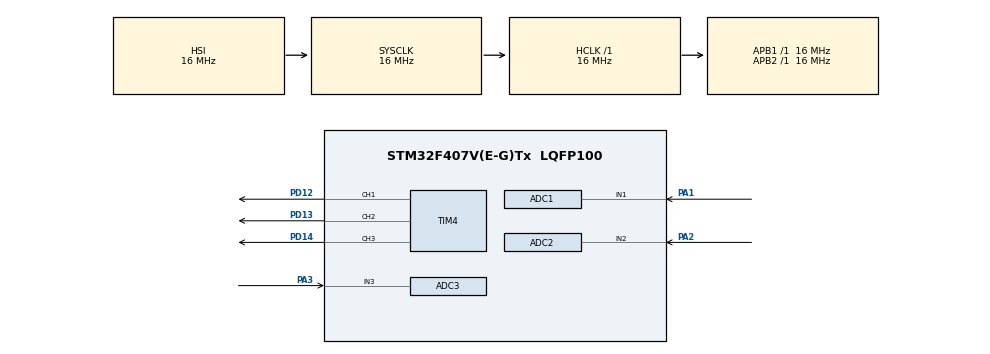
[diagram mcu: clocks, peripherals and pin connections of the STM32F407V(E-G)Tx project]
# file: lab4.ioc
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ADC1.Channel-0\#ChannelRegularConversion=ADC_CHANNEL_1
ADC1.ClockPrescaler=ADC_CLOCK_SYNC_PCLK_DIV8
ADC1.NbrOfConversionFlag=1
ADC1.Rank-0\#ChannelRegularConversion=1
ADC1.SamplingTime-0\#ChannelRegularConversion=ADC_SAMPLETIME_480CYCLES
ADC1.master=1
ADC2.Channel-3\#ChannelRegularConversion=ADC_CHANNEL_2
ADC2.ClockPrescaler=ADC_CLOCK_SYNC_PCLK_DIV8
ADC2.NbrOfConversionFlag=1
ADC2.Rank-3\#ChannelRegularConversion=1
ADC2.SamplingTime-3\#ChannelRegularConversion=ADC_SAMPLETIME_3CYCLES
ADC3.Channel-0\#ChannelRegularConversion=ADC_CHANNEL_3
ADC3.ClockPrescaler=ADC_CLOCK_SYNC_PCLK_DIV8
ADC3.NbrOfConversionFlag=1
ADC3.Rank-0\#ChannelRegularConversion=1
ADC3.SamplingTime-0\#ChannelRegularConversion=ADC_SAMPLETIME_480CYCLES
Mcu.Family=STM32F4
Mcu.Name=STM32F407V(E-G)Tx
Mcu.Package=LQFP100
NVIC.ADC_IRQn=true\:0\:0\:false\:false\:true\:true\:true\:true
NVIC.PriorityGroup=NVIC_PRIORITYGROUP_4
PA1.Signal=ADCx_IN1
PA2.Signal=ADCx_IN2
PA3.Signal=ADCx_IN3
PD12.Signal=S_TIM4_CH1
PD13.Signal=S_TIM4_CH2
PD14.Signal=S_TIM4_CH3
ProjectManager.HeapSize=0x200
ProjectManager.StackSize=0x400
ProjectManager.TargetToolchain=STM32CubeIDE
RCC.AHBFreq_Value=16000000
RCC.APB1Freq_Value=16000000
RCC.APB2Freq_Value=16000000
RCC.CortexFreq_Value=16000000
RCC.HSE_VALUE=25000000
RCC.HSI_VALUE=16000000
RCC.LSE_VALUE=32768
RCC.SYSCLKFreq_VALUE=16000000
RCC.VCOOutputFreq_Value=192000000
SH.ADCx_IN1.0=ADC1_IN1,IN1
SH.ADCx_IN2.0=ADC2_IN2,IN2
SH.ADCx_IN3.0=ADC3_IN3,IN3
SH.S_TIM4_CH1.0=TIM4_CH1,PWM Generation1 CH1
SH.S_TIM4_CH2.0=TIM4_CH2,PWM Generation2 CH2
SH.S_TIM4_CH3.0=TIM4_CH3,PWM Generation3 CH3
TIM4.Channel-PWM\ Generation1\ CH1=TIM_CHANNEL_1
TIM4.Channel-PWM\ Generation2\ CH2=TIM_CHANNEL_2
TIM4.Channel-PWM\ Generation3\ CH3=TIM_CHANNEL_3
VP_TIM4_VS_ClockSourceINT.Mode=Internal
board=custom

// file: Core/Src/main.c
/* USER CODE BEGIN Header */
/**
  ******************************************************************************
  * @file           : main.c
  * @brief          : Main program body
  ******************************************************************************
  * @attention
  *
  * Copyright (c) 2024 STMicroelectronics.
  * All rights reserved.
  *
  * This software is licensed under terms that can be found in the LICENSE file
  * in the root directory of this software component.
  * If no LICENSE file comes with this software, it is provided AS-IS.
  *
  ******************************************************************************
  */
/* USER CODE END Header */
#include "main.h"

ADC_HandleTypeDef hadc1;
ADC_HandleTypeDef hadc2;
ADC_HandleTypeDef hadc3;

TIM_HandleTypeDef htim4;

void SystemClock_Config(void);
static void MX_GPIO_Init(void);
static void MX_ADC1_Init(void);
static void MX_ADC2_Init(void);
static void MX_ADC3_Init(void);
static void MX_TIM4_Init(void);

/* USER CODE BEGIN 0 */

#define ADC_MAX_VAL (4096) // 2^12

// Generated ADC_IRQHandler in /stm32f4xx_it.c that defines the callback
void HAL_ADC_ConvCpltCallback(ADC_HandleTypeDef *hadc) {
	uint32_t hp = htim4.Init.Period;

	if (hadc->Instance == ADC1) {
		volatile uint32_t adc_val1 = HAL_ADC_GetValue(&hadc1);
		uint32_t duty_cycle_percentage = (adc_val1 * 100) / ADC_MAX_VAL;
		TIM4->CCR1 = (duty_cycle_percentage * hp) / 100;

		HAL_ADC_Start_IT(&hadc2);
	} else if (hadc->Instance == ADC2) {
		volatile uint32_t adc_val2 = HAL_ADC_GetValue(&hadc2);
		uint32_t duty_cycle_percentage = (adc_val2 * 100) / ADC_MAX_VAL;
		TIM4->CCR2 = (duty_cycle_percentage * hp) / 100;

		HAL_ADC_Start_IT(&hadc3);
	} else if (hadc->Instance == ADC3) {
		volatile uint32_t adc_val3 = HAL_ADC_GetValue(&hadc3);
		uint32_t duty_cycle_percentage = (adc_val3 * 100) / ADC_MAX_VAL;
		TIM4->CCR3 = (duty_cycle_percentage * hp) / 100;

		HAL_ADC_Start_IT(&hadc1);
	}
}

/* USER CODE END 0 */

int main(void)
{

  /* MCU Configuration--------------------------------------------------------*/

  /* Reset of all peripherals, Initializes the Flash interface and the Systick. */
  HAL_Init();

  /* Configure the system clock */
  SystemClock_Config();

  /* Initialize all configured peripherals */
  MX_GPIO_Init();
  MX_ADC1_Init();
  MX_ADC2_Init();
  MX_ADC3_Init();
  MX_TIM4_Init();
  /* USER CODE BEGIN 2 */

  HAL_TIM_PWM_Start(&htim4, TIM_CHANNEL_1);
  HAL_TIM_PWM_Start(&htim4, TIM_CHANNEL_2);
  HAL_TIM_PWM_Start(&htim4, TIM_CHANNEL_3);

  HAL_ADC_Start_IT(&hadc1);
  HAL_ADC_Start_IT(&hadc2);
  HAL_ADC_Start_IT(&hadc3);

  /* USER CODE END 2 */

  /* Infinite loop */
  /* USER CODE BEGIN WHILE */
  while (1)
  {
	// HAL_ADC_ConfigChannel(&hadc1, sConfig);
    /* USER CODE END WHILE */

  }
}

void SystemClock_Config(void)
{
  RCC_OscInitTypeDef RCC_OscInitStruct = {0};
  RCC_ClkInitTypeDef RCC_ClkInitStruct = {0};

  /** Configure the main internal regulator output voltage
  */
  __HAL_RCC_PWR_CLK_ENABLE();
  __HAL_PWR_VOLTAGESCALING_CONFIG(PWR_REGULATOR_VOLTAGE_SCALE1);

  /** Initializes the RCC Oscillators according to the specified parameters
  * in the RCC_OscInitTypeDef structure.
  */
  RCC_OscInitStruct.OscillatorType = RCC_OSCILLATORTYPE_HSI;
  RCC_OscInitStruct.HSIState = RCC_HSI_ON;
  RCC_OscInitStruct.HSICalibrationValue = RCC_HSICALIBRATION_DEFAULT;
  RCC_OscInitStruct.PLL.PLLState = RCC_PLL_NONE;
  if (HAL_RCC_OscConfig(&RCC_OscInitStruct) != HAL_OK)
  {
    Error_Handler();
  }

  /** Initializes the CPU, AHB and APB buses clocks
  */
  RCC_ClkInitStruct.ClockType = RCC_CLOCKTYPE_HCLK|RCC_CLOCKTYPE_SYSCLK
                              |RCC_CLOCKTYPE_PCLK1|RCC_CLOCKTYPE_PCLK2;
  RCC_ClkInitStruct.SYSCLKSource = RCC_SYSCLKSOURCE_HSI;
  RCC_ClkInitStruct.AHBCLKDivider = RCC_SYSCLK_DIV1;
  RCC_ClkInitStruct.APB1CLKDivider = RCC_HCLK_DIV1;
  RCC_ClkInitStruct.APB2CLKDivider = RCC_HCLK_DIV1;

  if (HAL_RCC_ClockConfig(&RCC_ClkInitStruct, FLASH_LATENCY_0) != HAL_OK)
  {
    Error_Handler();
  }
}

static void MX_ADC1_Init(void)
{

  ADC_ChannelConfTypeDef sConfig = {0};

  /** Configure the global features of the ADC (Clock, Resolution, Data Alignment and number of conversion)
  */
  hadc1.Instance = ADC1;
  hadc1.Init.ClockPrescaler = ADC_CLOCK_SYNC_PCLK_DIV8;
  hadc1.Init.Resolution = ADC_RESOLUTION_12B;
  hadc1.Init.ScanConvMode = DISABLE;
  hadc1.Init.ContinuousConvMode = DISABLE;
  hadc1.Init.DiscontinuousConvMode = DISABLE;
  hadc1.Init.ExternalTrigConvEdge = ADC_EXTERNALTRIGCONVEDGE_NONE;
  hadc1.Init.ExternalTrigConv = ADC_SOFTWARE_START;
  hadc1.Init.DataAlign = ADC_DATAALIGN_RIGHT;
  hadc1.Init.NbrOfConversion = 1;
  hadc1.Init.DMAContinuousRequests = DISABLE;
  hadc1.Init.EOCSelection = ADC_EOC_SINGLE_CONV;
  if (HAL_ADC_Init(&hadc1) != HAL_OK)
  {
    Error_Handler();
  }

  /** Configure for the selected ADC regular channel its corresponding rank in the sequencer and its sample time.
  */
  sConfig.Channel = ADC_CHANNEL_1;
  sConfig.Rank = 1;
  sConfig.SamplingTime = ADC_SAMPLETIME_480CYCLES;
  if (HAL_ADC_ConfigChannel(&hadc1, &sConfig) != HAL_OK)
  {
    Error_Handler();
  }

}

static void MX_ADC2_Init(void)
{

  ADC_ChannelConfTypeDef sConfig = {0};

  /** Configure the global features of the ADC (Clock, Resolution, Data Alignment and number of conversion)
  */
  hadc2.Instance = ADC2;
  hadc2.Init.ClockPrescaler = ADC_CLOCK_SYNC_PCLK_DIV8;
  hadc2.Init.Resolution = ADC_RESOLUTION_12B;
  hadc2.Init.ScanConvMode = DISABLE;
  hadc2.Init.ContinuousConvMode = DISABLE;
  hadc2.Init.DiscontinuousConvMode = DISABLE;
  hadc2.Init.ExternalTrigConvEdge = ADC_EXTERNALTRIGCONVEDGE_NONE;
  hadc2.Init.ExternalTrigConv = ADC_SOFTWARE_START;
  hadc2.Init.DataAlign = ADC_DATAALIGN_RIGHT;
  hadc2.Init.NbrOfConversion = 1;
  hadc2.Init.DMAContinuousRequests = DISABLE;
  hadc2.Init.EOCSelection = ADC_EOC_SINGLE_CONV;
  if (HAL_ADC_Init(&hadc2) != HAL_OK)
  {
    Error_Handler();
  }

  /** Configure for the selected ADC regular channel its corresponding rank in the sequencer and its sample time.
  */
  sConfig.Channel = ADC_CHANNEL_2;
  sConfig.Rank = 1;
  sConfig.SamplingTime = ADC_SAMPLETIME_3CYCLES;
  if (HAL_ADC_ConfigChannel(&hadc2, &sConfig) != HAL_OK)
  {
    Error_Handler();
  }

}

static void MX_ADC3_Init(void)
{

  ADC_ChannelConfTypeDef sConfig = {0};

  /** Configure the global features of the ADC (Clock, Resolution, Data Alignment and number of conversion)
  */
  hadc3.Instance = ADC3;
  hadc3.Init.ClockPrescaler = ADC_CLOCK_SYNC_PCLK_DIV8;
  hadc3.Init.Resolution = ADC_RESOLUTION_12B;
  hadc3.Init.ScanConvMode = DISABLE;
  hadc3.Init.ContinuousConvMode = DISABLE;
  hadc3.Init.DiscontinuousConvMode = DISABLE;
  hadc3.Init.ExternalTrigConvEdge = ADC_EXTERNALTRIGCONVEDGE_NONE;
  hadc3.Init.ExternalTrigConv = ADC_SOFTWARE_START;
  hadc3.Init.DataAlign = ADC_DATAALIGN_RIGHT;
  hadc3.Init.NbrOfConversion = 1;
  hadc3.Init.DMAContinuousRequests = DISABLE;
  hadc3.Init.EOCSelection = ADC_EOC_SINGLE_CONV;
  if (HAL_ADC_Init(&hadc3) != HAL_OK)
  {
    Error_Handler();
  }

  /** Configure for the selected ADC regular channel its corresponding rank in the sequencer and its sample time.
  */
  sConfig.Channel = ADC_CHANNEL_3;
  sConfig.Rank = 1;
  sConfig.SamplingTime = ADC_SAMPLETIME_480CYCLES;
  if (HAL_ADC_ConfigChannel(&hadc3, &sConfig) != HAL_OK)
  {
    Error_Handler();
  }

}

static void MX_TIM4_Init(void)
{

  TIM_ClockConfigTypeDef sClockSourceConfig = {0};
  TIM_MasterConfigTypeDef sMasterConfig = {0};
  TIM_OC_InitTypeDef sConfigOC = {0};

  htim4.Instance = TIM4;
  htim4.Init.Prescaler = 0;
  htim4.Init.CounterMode = TIM_COUNTERMODE_UP;
  htim4.Init.Period = 65535;
  htim4.Init.ClockDivision = TIM_CLOCKDIVISION_DIV1;
  htim4.Init.AutoReloadPreload = TIM_AUTORELOAD_PRELOAD_DISABLE;
  if (HAL_TIM_Base_Init(&htim4) != HAL_OK)
  {
    Error_Handler();
  }
  sClockSourceConfig.ClockSource = TIM_CLOCKSOURCE_INTERNAL;
  if (HAL_TIM_ConfigClockSource(&htim4, &sClockSourceConfig) != HAL_OK)
  {
    Error_Handler();
  }
  if (HAL_TIM_PWM_Init(&htim4) != HAL_OK)
  {
    Error_Handler();
  }
  sMasterConfig.MasterOutputTrigger = TIM_TRGO_RESET;
  sMasterConfig.MasterSlaveMode = TIM_MASTERSLAVEMODE_DISABLE;
  if (HAL_TIMEx_MasterConfigSynchronization(&htim4, &sMasterConfig) != HAL_OK)
  {
    Error_Handler();
  }
  sConfigOC.OCMode = TIM_OCMODE_PWM1;
  sConfigOC.Pulse = 0;
  sConfigOC.OCPolarity = TIM_OCPOLARITY_HIGH;
  sConfigOC.OCFastMode = TIM_OCFAST_DISABLE;
  if (HAL_TIM_PWM_ConfigChannel(&htim4, &sConfigOC, TIM_CHANNEL_1) != HAL_OK)
  {
    Error_Handler();
  }
  if (HAL_TIM_PWM_ConfigChannel(&htim4, &sConfigOC, TIM_CHANNEL_2) != HAL_OK)
  {
    Error_Handler();
  }
  if (HAL_TIM_PWM_ConfigChannel(&htim4, &sConfigOC, TIM_CHANNEL_3) != HAL_OK)
  {
    Error_Handler();
  }
  HAL_TIM_MspPostInit(&htim4);

}

static void MX_GPIO_Init(void)
{

  /* GPIO Ports Clock Enable */
  __HAL_RCC_GPIOA_CLK_ENABLE();
  __HAL_RCC_GPIOD_CLK_ENABLE();

}

void Error_Handler(void)
{
  __disable_irq();
  while (1)
  {
  }
}
